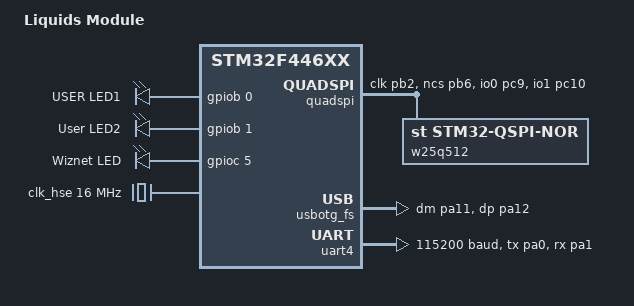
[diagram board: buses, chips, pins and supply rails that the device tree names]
/dts-v1/;
#include <st/f4/stm32f446Xe.dtsi>
#include <st/f4/stm32f446r(c-e)tx-pinctrl.dtsi>
#include <zephyr/dt-bindings/input/input-event-codes.h>

/ {
	model = "Liquids Module";
	compatible = "st,stm32f446xx";

	chosen {
		zephyr,sram = &sram0;
		zephyr,flash = &flash0;

		zephyr,console = &cdc_acm_uart0;
		zephyr,shell_uart = &cdc_acm_uart0;

		storage = &w25q512;

		rtc = &rtc;
	};

	aliases {
		led0 = &red_led_1;
		led1 = &red_led_2;
	};

	leds: leds {
		compatible = "gpio-leds";

		red_led_1: led_1 {
			gpios = <&gpiob 0 GPIO_ACTIVE_HIGH>;
			label = "USER LED1";
		};

		red_led_2: led_2 {
			gpios = <&gpiob 1 GPIO_ACTIVE_HIGH>;
			label = "User LED2";
		};

		wiz_led: wiz_led {
			gpios = <&gpioc 5 GPIO_ACTIVE_HIGH>;
			label = "Wiznet LED";
		};
	};

	soc {
		quadspi: spi@a0001000 {
			compatible = "st,stm32-qspi";
			pinctrl-names = "default";
			pinctrl-0 = <&quadspi_clk_pb2 &quadspi_bk1_ncs_pb6
			&quadspi_bk1_io0_pc9 &quadspi_bk1_io1_pc10>;
			reg = <0xa0001000 0x400>, <0x90000000 DT_SIZE_M(128)>;
			interrupts = <92 0>;
			clocks = <&rcc STM32_CLOCK(AHB3, 1U)>;
			flash-id = <1>;
			status = "okay";
			#address-cells = <0x1>;
			#size-cells = <0x0>;

			w25q512: qspi-nor-flash@90000000 {
				compatible = "st,stm32-qspi-nor";
				reg = <0x90000000 0x10000000>; /* 128 Mbits */
				size = <DT_SIZE_M(128)>; /* 128 Mbits */
				qspi-max-frequency = <DT_FREQ_M(50)>;
				status = "okay";
				spi-bus-width = <4>;
				jedec-id = [ ef 40 18  ];
				page-size = <256>;
				writeoc = "PP_1_1_4";
				requires-ulbpr;

				partitions {
					compatible = "fixed-partitions";
					#address-cells = <1>;
					#size-cells = <1>;
				};
			};
		};
	};
};

&clk_lsi {
	status = "okay";
};

&clk_hse {
	clock-frequency = <DT_FREQ_M(16)>;
	status = "okay";
};

&pll {
	div-m = <8>;
	mul-n = <72>;
	div-p = <2>;
	div-q = <3>;
	div-r = <2>;
	clocks = <&clk_hse>;
	status = "okay";
};

&rcc {
	clocks = <&pll>;
	clock-frequency = <DT_FREQ_M(16)>;
	ahb-prescaler = <1>;
	apb1-prescaler = <2>;
	apb2-prescaler = <1>;
};

zephyr_udc0: &usbotg_fs {
	pinctrl-0 = <&usb_otg_fs_dm_pa11 &usb_otg_fs_dp_pa12>;
	pinctrl-names = "default";
	maximum-speed = "full-speed";
	status = "okay";

	cdc_acm_uart0: cdc_acm_uart0 {
		compatible = "zephyr,cdc-acm-uart";
		label = "USB CDC-ACM";
	};
};

&uart4 {
	pinctrl-0 = <&uart4_tx_pa0 &uart4_rx_pa1>;
	pinctrl-names = "default";
	current-speed = <115200>;
	status = "okay";
};
